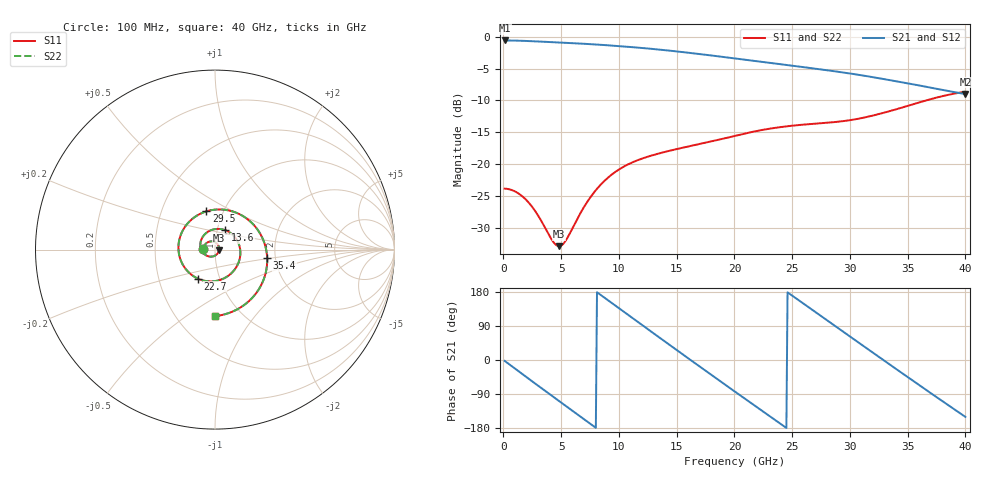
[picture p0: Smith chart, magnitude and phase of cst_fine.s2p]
! D_s8_stitch_1p0: L1 (ref L2) → L8 (ref L7), one GND via at 1 mm
! stackup: 8-layer 1.6 mm FR-4 (generic)
! ports: 1, 2
! CST Studio Suite 2025.5 Release from 2025-05-30, time domain (FIT, hexahedral, PBA), 616000 mesh cells, 91 s
! mesh: {'lpw': 30.0, 'lpb': 30.0, 'minstep': 0.0, 'ratio': 20}; ports: port 1 (face); port 2 (face)
! interpolated from CST's 1001 samples to the case grid
# Hz S RI R 50
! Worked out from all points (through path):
!   400 points, 100 MHz to 40 GHz, reference 50 ohm
!   highest |S21| = -0.59 dB at 100 MHz (marker M1); lowest = -9.0 dB at 40 GHz (marker M2)
!   group delay of S21, straight-line fit = 60.4 ps
!   lowest |S11| = -32.8 dB at 4.8 GHz (marker M3), VSWR 1.05, Z = 52.3 - j0.486 ohm
!   |S11| at or under -10 dB: start of sweep to 36.58 GHz
!   |S22| runs from -32.8 to -8.6 dB; largest |S21 - S12| = 3.6e-07
!   S11 on the Smith chart (normalised r, x): 100 MHz: 0.88, +0.01; 13.6 GHz: 1.10, +0.24; 22.7 GHz: 0.79, -0.26; 29.5 GHz: 0.83, +0.37; 35.4 GHz: 1.81, -0.18; 40 GHz: 0.76, -0.65
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1e8  -0.0644 0.00335  0.9337 -0.0371  0.9337 -0.0371  -0.0644 0.00335
2.6e9  -0.00709 0.0444  0.4762 -0.7883  0.4762 -0.7883  -0.00709 0.0444
4.8e9  0.0223 -0.00464  -0.2772 -0.8571  -0.2772 -0.8571  0.0223 -0.00465
6.8e9  -0.0189 -0.0392  -0.7814 -0.4094  -0.7814 -0.4094  -0.0189 -0.0392
8.6e9  -0.071 -0.0115  -0.842 0.1839  -0.842 0.1839  -0.071 -0.0115
1.06e10  -0.07 0.0684  -0.46 0.6978  -0.46 0.6978  -0.07 0.0684
1.2e10  -0.0196 0.1091  -0.0349 0.8152  -0.0349 0.8152  -0.0196 0.1091
1.34e10  0.0487 0.1109  0.3785 0.6982  0.3785 0.6982  0.0487 0.1109
1.36e10  0.0583 0.1077  0.4293 0.6642  0.4293 0.6642  0.0583 0.1077
1.51e10  0.1174 0.0608  0.6981 0.3128  0.6981 0.3128  0.1174 0.0608
1.66e10  0.1413 -0.0114  0.7296 -0.1114  0.7296 -0.1114  0.1413 -0.0114
1.85e10  0.1149 -0.1036  0.4519 -0.5394  0.4519 -0.5394  0.115 -0.1036
2.01e10  0.0517 -0.1594  0.0623 -0.6718  0.0623 -0.6718  0.0517 -0.1594
2.27e10  -0.0966 -0.1611  -0.4868 -0.3991  -0.4868 -0.3991  -0.0966 -0.1611
2.46e10  -0.184 -0.0751  -0.5989 0.0153  -0.5989 0.0153  -0.184 -0.0751
2.67e10  -0.1945 0.0711  -0.389 0.4115  -0.389 0.4115  -0.1945 0.0712
2.95e10  -0.048 0.213  0.1524 0.5002  0.1524 0.5002  -0.048 0.213
3.15e10  0.1062 0.2099  0.4249 0.2441  0.4249 0.2441  0.1063 0.2099
3.34e10  0.2315 0.1189  0.4494 -0.0864  0.4494 -0.0864  0.2315 0.1189
3.54e10  0.2905 -0.0453  0.2525 -0.3414  0.2525 -0.3414  0.2906 -0.0453
3.75e10  0.232 -0.2391  -0.054 -0.3869  -0.054 -0.3869  0.232 -0.2392
4e10  0.000531 -0.3707  -0.308 -0.1772  -0.308 -0.1772  0.000527 -0.3707
